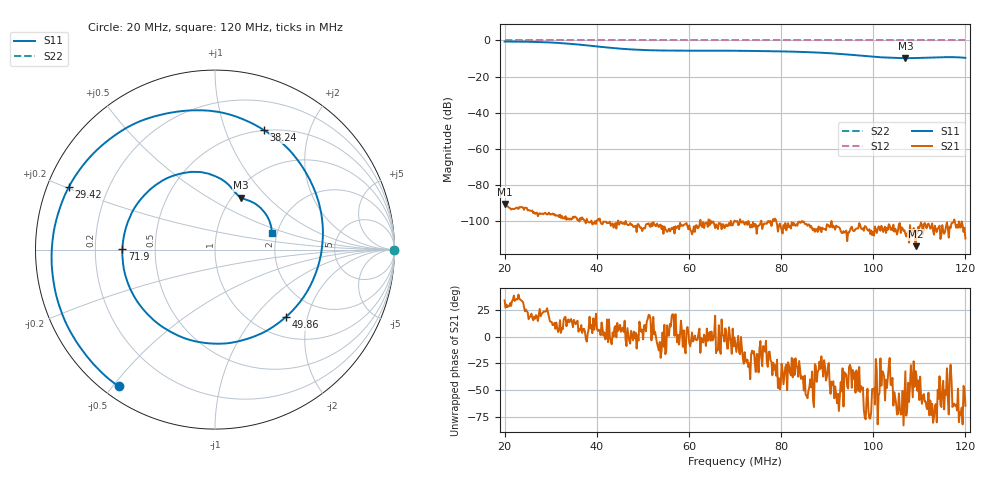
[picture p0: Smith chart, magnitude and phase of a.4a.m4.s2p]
! Anritsu VNA Master:  Model: MS2036C/10/77
! SN:  1601066
! /bd0/18may09/254.ew.m4.s2p
! Existing Calibration Information:
! TYPE:  Current Settings,  Active Cal Settings
! TIME:  05/09/2018 10:17:02 AM,  05/09/2018 10:08:40 AM
! INTERNAL TEMP:  48.8 C,  48.0 C
! # POINTS:  500,  500
! START FREQ:  20.000 MHz,  20.000 MHz
! STOP FREQ:  120.000 MHz,  120.000 MHz
! SOURCE POWER:  High,  High
! IFBW:  50 Hz,  50 Hz
! AVG FACTOR:  1 ,  1
! REF PLANE 1:  0 mm,  0 mm
! REF PLANE 2:  0 mm,  0 mm
! CAL TYPE:  Full S11,  Full S11
! CAL METHOD:  SOLT,  SOLT
! CAL LINE TYPE:  Coax,  Coax
! DUT PORT 1:  K-Conn(F),  K-Conn(F)
! DUT PORT 2:  K-Conn(F),  K-Conn(F)
! CAL STATUS:  OK: Accuracy High,  --
# GHZ S DB R 50.0
! FREQ.GHZ  S11DB  S11A  S21DB  S21A  S12DB  S12A  S22DB  S22A
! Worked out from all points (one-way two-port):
!   500 points, 20 MHz to 120 MHz, reference 50 ohm
!   highest |S21| = -90.56 dB at 20 MHz (marker M1); lowest = -113.9 dB at 109.2 MHz (marker M2)
!   lowest |S11| = -9.8 dB at 107 MHz (marker M3), VSWR 1.96, Z = 54.7 + j35.5 ohm
!   |S11| at or under -10 dB: nowhere
!   |S22| runs from 0.0 to 0.0 dB; largest |S21 - S12| = 1
!   S11 on the Smith chart (normalised r, x): 20 MHz: 0.04, -0.52; 29.42 MHz: 0.06, +0.20; 38.24 MHz: 0.49, +1.37; 49.86 MHz: 1.38, -1.48; 71.9 MHz: 0.32, +0.00; 120 MHz: 1.88, +0.39
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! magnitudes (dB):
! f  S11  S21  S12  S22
! 20 MHz  -0.6  -90.6  0.0  0.0
! 25.01 MHz  -0.7  -94.1  0.0  0.0
! 29.42 MHz  -1.1  -96.0  0.0  0.0
! 32.83 MHz  -1.6  -98.1  0.0  0.0
! 36.83 MHz  -2.4  -98.0  0.0  0.0
! 38.24 MHz  -2.9  -100.7  0.0  0.0
! 44.85 MHz  -4.5  -102.0  0.0  0.0
! 49.86 MHz  -5.3  -105.6  0.0  0.0
! 53.47 MHz  -5.5  -103.4  0.0  0.0
! 70.1 MHz  -5.7  -100.3  0.0  0.0
! 71.9 MHz  -5.7  -100.9  0.0  0.0
! 78.52 MHz  -6.0  -100.1  0.0  0.0
! 86.73 MHz  -6.6  -104.3  0.0  0.0
! 92.14 MHz  -7.3  -103.0  0.0  0.0
! 101 MHz  -9.2  -104.9  0.0  0.0
! 103.4 MHz  -9.6  -101.8  0.0  0.0
! 107 MHz  -9.8  -107.1  0.0  0.0
! 109.2 MHz  -9.7  -113.9  0.0  0.0
! 113.4 MHz  -9.4  -102.6  0.0  0.0
! 116 MHz  -9.2  -100.7  0.0  0.0
! 118 MHz  -9.3  -103.7  0.0  0.0
! 120 MHz  -9.6  -109.7  0.0  0.0
